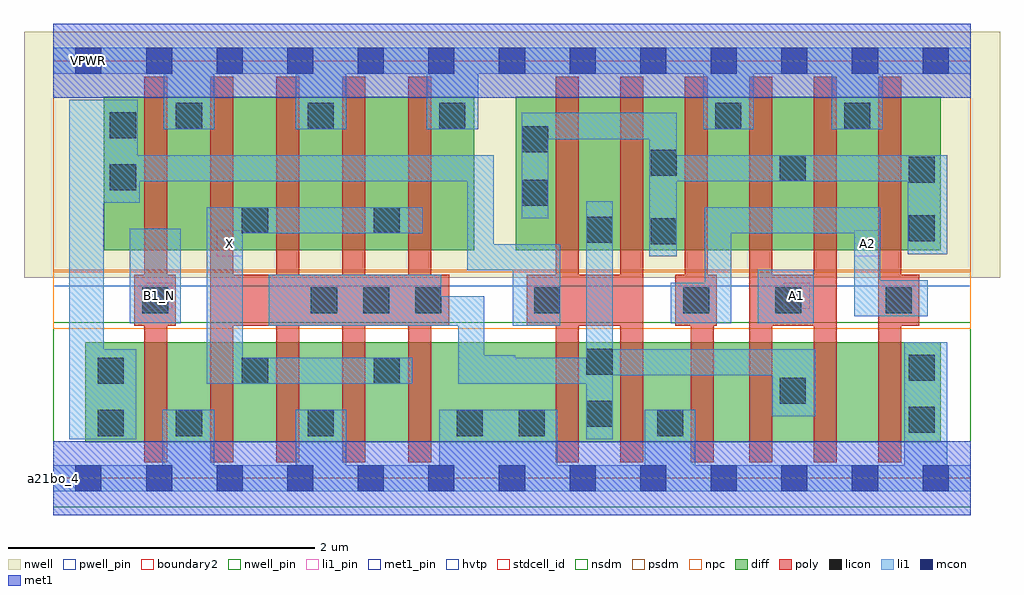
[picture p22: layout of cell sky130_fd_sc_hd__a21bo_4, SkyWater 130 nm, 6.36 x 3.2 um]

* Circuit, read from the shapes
.subckt sky130_fd_sc_hd__a21bo_4 A1 A2 B1_N VGND VNB VPB VPWR X
XM1 VGND B1_N n1 VNB sky130_fd_pr__nfet_01v8 w=0.65 l=0.15
XM2 X n2 VGND VNB sky130_fd_pr__nfet_01v8 w=0.65 l=0.15 m=4
XM3 n2 n1 VGND VNB sky130_fd_pr__nfet_01v8 w=0.65 l=0.15 m=2
XM4 n3 A2 VGND VNB sky130_fd_pr__nfet_01v8 w=0.65 l=0.15
XM5 n2 A1 n3 VNB sky130_fd_pr__nfet_01v8 w=0.65 l=0.15
XM6 n4 A1 n2 VNB sky130_fd_pr__nfet_01v8 w=0.65 l=0.15
XM7 VGND A2 n4 VNB sky130_fd_pr__nfet_01v8 w=0.65 l=0.15
XM8 VPWR B1_N n1 VPB sky130_fd_pr__pfet_01v8_hvt w=1 l=0.15
XM9 X n2 VPWR VPB sky130_fd_pr__pfet_01v8_hvt w=1 l=0.15 m=4
XM10 n2 n1 n5 VPB sky130_fd_pr__pfet_01v8_hvt w=1 l=0.15 m=2
XM11 VPWR A2 n5 VPB sky130_fd_pr__pfet_01v8_hvt w=1 l=0.15 m=2
XM12 n5 A1 VPWR VPB sky130_fd_pr__pfet_01v8_hvt w=1 l=0.15 m=2
.ends

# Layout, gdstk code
import gdstk
lib = gdstk.Library(unit=1e-6, precision=1e-09)
def R(c, l, rs):  # rectangles x0, y0, x1, y1
    for r in rs: c.add(gdstk.rectangle(r[:2], r[2:], *l))
def A(c, l, x, y, w, h, nx, ny, dx, dy):  # array of equal rectangles
    R(c, l, [(x+i*dx, y+j*dy, x+i*dx+w, y+j*dy+h) for i in range(nx) for j in range(ny)])
def P(c, l, *ps):  # polygons
    for p in ps: c.add(gdstk.Polygon(p, *l))
nwell_pin = (64, 16)
nwell = (64, 20)
diff = (65, 20)
poly = (66, 20)
licon = (66, 44)
li1_pin = (67, 16)
li1 = (67, 20)
mcon = (67, 44)
met1_pin = (68, 16)
met1 = (68, 20)
hvtp = (78, 44)
stdcell_id = (81, 4)
nsdm = (93, 44)
psdm = (94, 20)
npc = (95, 20)
pwell_pin = (122, 16)
boundary2 = (236, 0)

sky130_fd_sc_hd__a21bo_4 = lib.new_cell('sky130_fd_sc_hd__a21bo_4')
R(sky130_fd_sc_hd__a21bo_4, nwell_pin, [(0.145,2.635,0.315,2.805)])
R(sky130_fd_sc_hd__a21bo_4, nwell, [(-0.19,1.305,6.17,2.91)])
R(sky130_fd_sc_hd__a21bo_4, diff, [(0.21,0.235,5.785,0.885), (0.33,1.485,2.745,2.485), (3.015,1.485,5.785,2.485)])
P(sky130_fd_sc_hd__a21bo_4, poly, [(5.645,1.325),(5.525,1.325),(5.525,2.615),(5.375,2.615),(5.375,0.105),(5.525,0.105),(5.525,0.995),(5.645,0.995)],
  [(5.105,2.615),(4.955,2.615),(4.955,1.325),(4.685,1.325),(4.685,2.615),(4.535,2.615),(4.535,0.105),(4.685,0.105),(4.685,0.995),(4.955,0.995),(4.955,0.105),(5.105,0.105)],
  [(4.325,1.325),(4.265,1.325),(4.265,2.615),(4.115,2.615),(4.115,1.325),(4.055,1.325),(4.055,0.995),(4.155,0.995),(4.155,0.105),(4.305,0.105),(4.305,0.995),(4.325,0.995)],
  [(3.845,2.615),(3.695,2.615),(3.695,1.325),(3.425,1.325),(3.425,2.615),(3.275,2.615),(3.275,1.325),(3.085,1.325),(3.085,0.995),(3.275,0.995),(3.275,0.105),(3.425,0.105),(3.425,0.995),(3.695,0.995),(3.695,0.105),(3.845,0.105)],
  [(2.58,1.325),(2.465,1.325),(2.465,2.615),(2.315,2.615),(2.315,1.325),(2.035,1.325),(2.035,2.615),(1.885,2.615),(1.885,1.325),(1.605,1.325),(1.605,2.615),(1.455,2.615),(1.455,1.325),(1.175,1.325),(1.175,2.615),(1.025,2.615),(1.025,0.105),(1.175,0.105),(1.175,0.995),(1.455,0.995),(1.455,0.105),(1.605,0.105),(1.605,0.995),(1.885,0.995),(1.885,0.105),(2.035,0.105),(2.035,0.995),(2.315,0.995),(2.315,0.105),(2.465,0.105),(2.465,0.995),(2.58,0.995)],
  [(0.8,1.325),(0.745,1.325),(0.745,2.615),(0.595,2.615),(0.595,1.325),(0.53,1.325),(0.53,0.995),(0.595,0.995),(0.595,0.105),(0.745,0.105),(0.745,0.995),(0.8,0.995)])
A(sky130_fd_sc_hd__a21bo_4, licon, 1.68, 1.075, 0.17, 0.17, 3, 1, 0.34, 0)
R(sky130_fd_sc_hd__a21bo_4, licon, [(0.29,0.275,0.46,0.445), (0.8,0.275,0.97,0.445), (1.66,0.275,1.83,0.445), (2.63,0.275,2.8,0.445), (3.035,0.275,3.205,0.445), (3.935,0.275,4.105,0.445), (5.575,0.295,5.745,0.465), (3.475,0.335,3.645,0.505), (4.735,0.485,4.905,0.655), (0.29,0.615,0.46,0.785), (1.23,0.615,1.4,0.785), (2.09,0.615,2.26,0.785), (5.575,0.635,5.745,0.805), (3.475,0.675,3.645,0.845), (0.58,1.075,0.75,1.245), (3.135,1.075,3.305,1.245), (4.105,1.075,4.275,1.245), (4.705,1.075,4.875,1.245), (5.425,1.075,5.595,1.245), (3.895,1.525,4.065,1.695), (3.475,1.535,3.645,1.705), (5.575,1.545,5.745,1.715), (1.23,1.595,1.4,1.765), (2.09,1.595,2.26,1.765), (3.055,1.775,3.225,1.945), (0.37,1.875,0.54,2.045), (5.575,1.925,5.745,2.095), (4.735,1.935,4.905,2.105), (3.895,1.97,4.065,2.14), (3.055,2.125,3.225,2.295), (0.37,2.215,0.54,2.385), (0.8,2.275,0.97,2.445), (1.66,2.275,1.83,2.445), (2.515,2.275,2.685,2.445), (4.315,2.275,4.485,2.445), (5.155,2.275,5.325,2.445)])
R(sky130_fd_sc_hd__a21bo_4, li1_pin, [(0.605,1.105,0.775,1.275), (4.76,1.105,4.93,1.275), (1.065,1.445,1.235,1.615), (5.22,1.445,5.39,1.615)])
R(sky130_fd_sc_hd__a21bo_4, li1, [(0.5,1.01,0.83,1.625), (4.59,1.01,4.955,1.36)])
P(sky130_fd_sc_hd__a21bo_4, li1, [(5.825,2.105),(4.065,2.105),(4.065,2.38),(3.055,2.38),(3.055,1.695),(3.225,1.695),(3.225,2.21),(3.885,2.21),(3.885,1.445),(4.065,1.445),(4.065,1.935),(5.57,1.935),(5.57,1.46),(5.825,1.46)],
  [(5.7,1.29),(5.39,1.29),(5.39,1.765),(4.245,1.765),(4.245,1.275),(4.025,1.275),(4.025,1.01),(4.42,1.01),(4.42,1.595),(5.22,1.595),(5.22,1.055),(5.7,1.055)],
  [(4.965,0.84),(3.645,0.84),(3.645,1.805),(3.475,1.805),(3.475,0.785),(3.01,0.785),(3.01,0.8),(2.81,0.8),(2.81,1.185),(2.53,1.185),(2.53,1.325),(1.405,1.325),(1.405,0.995),(2.64,0.995),(2.64,0.615),(3.475,0.615),(3.475,0.255),(3.645,0.255),(3.645,0.67),(4.685,0.67),(4.685,0.405),(4.965,0.405)],
  [(3.305,1.525),(2.87,1.525),(2.87,2.105),(0.55,2.105),(0.55,2.465),(0.105,2.465),(0.105,0.255),(0.54,0.255),(0.54,0.84),(0.33,0.84),(0.33,1.795),(0.565,1.795),(0.565,1.935),(2.7,1.935),(2.7,1.355),(2.995,1.355),(2.995,0.995),(3.305,0.995)],
  [(2.41,1.765),(1,1.765),(1,0.615),(2.34,0.615),(2.34,0.785),(1.235,0.785),(1.235,1.595),(2.41,1.595)],
  [(5.98,2.805),(0,2.805),(0,2.635),(0.72,2.635),(0.72,2.275),(1.05,2.275),(1.05,2.635),(1.58,2.635),(1.58,2.275),(1.91,2.275),(1.91,2.635),(2.435,2.635),(2.435,2.275),(2.77,2.275),(2.77,2.635),(4.235,2.635),(4.235,2.275),(4.565,2.275),(4.565,2.635),(5.075,2.635),(5.075,2.275),(5.405,2.275),(5.405,2.635),(5.98,2.635)],
  [(5.98,0.085),(5.825,0.085),(5.825,0.885),(5.545,0.885),(5.545,0.085),(4.185,0.085),(4.185,0.445),(3.855,0.445),(3.855,0.085),(3.285,0.085),(3.285,0.445),(2.515,0.445),(2.515,0.085),(1.91,0.085),(1.91,0.445),(1.58,0.445),(1.58,0.085),(1.05,0.085),(1.05,0.445),(0.71,0.445),(0.71,0.085),(0,0.085),(0,-0.085),(5.98,-0.085)])
A(sky130_fd_sc_hd__a21bo_4, mcon, 0.145, -0.085, 0.17, 0.17, 13, 2, 0.46, 2.72)
R(sky130_fd_sc_hd__a21bo_4, met1_pin, [(0.145,-0.085,0.315,0.085), (0.145,2.635,0.315,2.805)])
R(sky130_fd_sc_hd__a21bo_4, hvtp, [(0,1.25,5.98,2.72)])
R(sky130_fd_sc_hd__a21bo_4, stdcell_id, [(0,0,5.98,2.72)])
R(sky130_fd_sc_hd__a21bo_4, nsdm, [(0,-0.19,5.98,1.015)])
R(sky130_fd_sc_hd__a21bo_4, psdm, [(0,1.355,5.98,2.91)])
R(sky130_fd_sc_hd__a21bo_4, npc, [(0,0.975,5.98,1.345)])
R(sky130_fd_sc_hd__a21bo_4, pwell_pin, [(0.145,-0.085,0.315,0.085)])
R(sky130_fd_sc_hd__a21bo_4, boundary2, [(0,0,5.98,2.72)])
sky130_fd_sc_hd__a21bo_4.add(gdstk.FlexPath([(0,0),(5.98,0)], 0.48, ends="flush", simple_path=True, layer=68, datatype=20))  # met1
sky130_fd_sc_hd__a21bo_4.add(gdstk.FlexPath([(0,2.72),(5.98,2.72)], 0.48, ends="flush", simple_path=True, layer=68, datatype=20))  # met1
sky130_fd_sc_hd__a21bo_4.add(gdstk.Label('a21bo_4', (0,0), layer=83, texttype=44))
sky130_fd_sc_hd__a21bo_4.add(gdstk.Label('VPWR', (0.23,2.72), layer=68, texttype=5))
sky130_fd_sc_hd__a21bo_4.add(gdstk.Label('VGND', (0.23,0), layer=68, texttype=5))
sky130_fd_sc_hd__a21bo_4.add(gdstk.Label('VPB', (0.23,2.72), layer=64, texttype=5))
sky130_fd_sc_hd__a21bo_4.add(gdstk.Label('VNB', (0.23,0), layer=64, texttype=59))
sky130_fd_sc_hd__a21bo_4.add(gdstk.Label('X', (1.15,1.53), layer=67, texttype=5))
sky130_fd_sc_hd__a21bo_4.add(gdstk.Label('A1', (4.845,1.19), layer=67, texttype=5))
sky130_fd_sc_hd__a21bo_4.add(gdstk.Label('A2', (5.305,1.53), layer=67, texttype=5))
sky130_fd_sc_hd__a21bo_4.add(gdstk.Label('B1_N', (0.69,1.19), layer=67, texttype=5))

lib.write_gds('sky130_fd_sc_hd__a21bo_4.gds')
